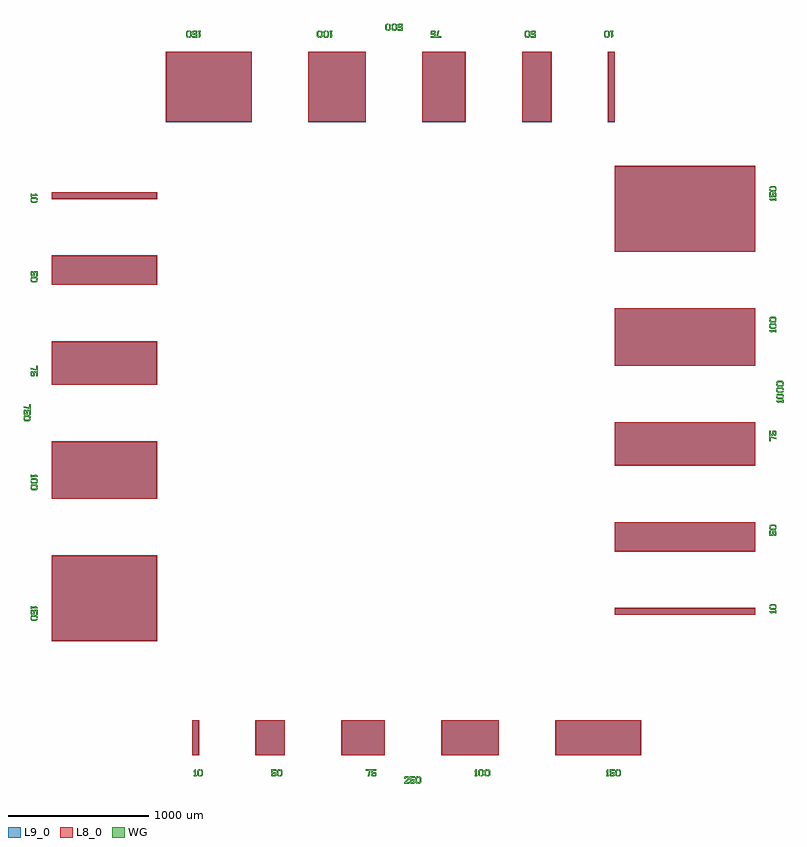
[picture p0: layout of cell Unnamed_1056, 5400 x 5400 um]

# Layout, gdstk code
from math import pi, radians
import gdstk
lib = gdstk.Library(unit=1e-6, precision=1e-09)
def R(c, l, rs):  # rectangles x0, y0, x1, y1
    for r in rs: c.add(gdstk.rectangle(r[:2], r[2:], *l))
def P(c, l, *ps):  # polygons
    for p in ps: c.add(gdstk.Polygon(p, *l))
WG = (1, 0)
L8_0 = (8, 0)
L9_0 = (9, 0)

rectangle_s210_1000_l9__ = lib.new_cell('rectangle_S210_1000_L9__2c233f20')
R(rectangle_s210_1000_l9__, L9_0, [(0,0,210,1000)])

text_t50_s50_p0_0_jleft_ = lib.new_cell('text_T50_S50_P0_0_Jleft_L1_0')
P(text_t50_s50_p0_0_jleft_, WG, [(63.5,0),(66,10),(70,10),(75,15),(75,35),(70,40),(72.5,50),(75,50),(85,40),(85,10),(75,0)],
  [(55,0),(45,10),(45,40),(55,50),(66.5,50),(64,40),(60,40),(55,35),(55,15),(60,10),(57.5,0)],
  [(10,0),(5,5),(5,15),(15,15),(15,10),(30,10),(30,20),(10,20),(5,25),(5,50),(40,50),(40,40),(15,40),(15,30),(35,30),(40,25),(40,5),(35,0)])

rectangle_s50_998_l8_0__ = lib.new_cell('rectangle_S50_998_L8_0__a3cc393b')
R(rectangle_s50_998_l8_0__, L8_0, [(0,0,50,998)])

unnamed_1047 = lib.new_cell('Unnamed_1047')
unnamed_1047.add(gdstk.Reference(rectangle_s210_1000_l9__, (498,0)))
unnamed_1047.add(gdstk.Reference(text_t50_s50_p0_0_jleft_, (605,-150)))
unnamed_1047.add(gdstk.Reference(rectangle_s50_998_l8_0__, (500,0)))
unnamed_1047.add(gdstk.Reference(rectangle_s50_998_l8_0__, (552,0)))
unnamed_1047.add(gdstk.Reference(rectangle_s50_998_l8_0__, (604,0)))
unnamed_1047.add(gdstk.Reference(rectangle_s50_998_l8_0__, (656,0)))

rectangle_s610_1000_l9__ = lib.new_cell('rectangle_S610_1000_L9__b08154cd')
R(rectangle_s610_1000_l9__, L9_0, [(0,0,610,1000)])

text_t150_s50_p0_0_jleft = lib.new_cell('text_T150_S50_P0_0_Jleft_L1_0')
P(text_t150_s50_p0_0_jleft, WG, [(88.5,0),(91,10),(95,10),(100,15),(100,35),(95,40),(97.5,50),(100,50),(110,40),(110,10),(100,0)],
  [(80,0),(70,10),(70,40),(80,50),(91.5,50),(89,40),(85,40),(80,35),(80,15),(85,10),(82.5,0)],
  [(35,0),(30,5),(30,15),(40,15),(40,10),(55,10),(55,20),(35,20),(30,25),(30,50),(65,50),(65,40),(40,40),(40,30),(60,30),(65,25),(65,5),(60,0)],
  [(5,0),(5,10),(10,10),(10,30),(5,30),(5,40),(15,50),(20,50),(20,10),(25,10),(25,0)])

rectangle_s150_998_l8_0_ = lib.new_cell('rectangle_S150_998_L8_0_cd40ac17')
R(rectangle_s150_998_l8_0_, L8_0, [(0,0,150,998)])

unnamed_1050 = lib.new_cell('Unnamed_1050')
unnamed_1050.add(gdstk.Reference(rectangle_s610_1000_l9__, (498,0)))
unnamed_1050.add(gdstk.Reference(text_t150_s50_p0_0_jleft, (855,-150)))
unnamed_1050.add(gdstk.Reference(rectangle_s150_998_l8_0_, (500,0)))
unnamed_1050.add(gdstk.Reference(rectangle_s150_998_l8_0_, (652,0)))
unnamed_1050.add(gdstk.Reference(rectangle_s150_998_l8_0_, (804,0)))
unnamed_1050.add(gdstk.Reference(rectangle_s150_998_l8_0_, (956,0)))

text_t1000_s50_p0_0_jlef = lib.new_cell('text_T1000_S50_P0_0_Jleft_L1_0')
P(text_t1000_s50_p0_0_jlef, WG, [(48.5,0),(51,10),(55,10),(60,15),(60,35),(55,40),(57.5,50),(60,50),(70,40),(70,10),(60,0)],
  [(93.5,0),(96,10),(100,10),(105,15),(105,35),(100,40),(102.5,50),(105,50),(115,40),(115,10),(105,0)],
  [(138.5,0),(141,10),(145,10),(150,15),(150,35),(145,40),(147.5,50),(150,50),(160,40),(160,10),(150,0)],
  [(40,0),(30,10),(30,40),(40,50),(51.5,50),(49,40),(45,40),(40,35),(40,15),(45,10),(42.5,0)],
  [(85,0),(75,10),(75,40),(85,50),(96.5,50),(94,40),(90,40),(85,35),(85,15),(90,10),(87.5,0)],
  [(130,0),(120,10),(120,40),(130,50),(141.5,50),(139,40),(135,40),(130,35),(130,15),(135,10),(132.5,0)],
  [(5,0),(5,10),(10,10),(10,30),(5,30),(5,40),(15,50),(20,50),(20,10),(25,10),(25,0)])

rectangle_s50_1000_l9_0_ = lib.new_cell('rectangle_S50_1000_L9_0_49e40894')
R(rectangle_s50_1000_l9_0_, L9_0, [(0,0,50,1000)])

text_t10_s50_p0_0_jleft_ = lib.new_cell('text_T10_S50_P0_0_Jleft_L1_0')
P(text_t10_s50_p0_0_jleft_, WG, [(48.5,0),(51,10),(55,10),(60,15),(60,35),(55,40),(57.5,50),(60,50),(70,40),(70,10),(60,0)],
  [(40,0),(30,10),(30,40),(40,50),(51.5,50),(49,40),(45,40),(40,35),(40,15),(45,10),(42.5,0)],
  [(5,0),(5,10),(10,10),(10,30),(5,30),(5,40),(15,50),(20,50),(20,10),(25,10),(25,0)])

rectangle_s10_998_l8_0__ = lib.new_cell('rectangle_S10_998_L8_0__618c10ad')
R(rectangle_s10_998_l8_0__, L8_0, [(0,0,10,998)])

unnamed_1046 = lib.new_cell('Unnamed_1046')
unnamed_1046.add(gdstk.Reference(rectangle_s50_1000_l9_0_, (498,0)))
unnamed_1046.add(gdstk.Reference(text_t10_s50_p0_0_jleft_, (505,-150)))
unnamed_1046.add(gdstk.Reference(rectangle_s10_998_l8_0__, (500,0)))
unnamed_1046.add(gdstk.Reference(rectangle_s10_998_l8_0__, (512,0)))
unnamed_1046.add(gdstk.Reference(rectangle_s10_998_l8_0__, (524,0)))
unnamed_1046.add(gdstk.Reference(rectangle_s10_998_l8_0__, (536,0)))

rectangle_s410_1000_l9__ = lib.new_cell('rectangle_S410_1000_L9__d644e350')
R(rectangle_s410_1000_l9__, L9_0, [(0,0,410,1000)])

text_t100_s50_p0_0_jleft = lib.new_cell('text_T100_S50_P0_0_Jleft_L1_0')
P(text_t100_s50_p0_0_jleft, WG, [(48.5,0),(51,10),(55,10),(60,15),(60,35),(55,40),(57.5,50),(60,50),(70,40),(70,10),(60,0)],
  [(93.5,0),(96,10),(100,10),(105,15),(105,35),(100,40),(102.5,50),(105,50),(115,40),(115,10),(105,0)],
  [(40,0),(30,10),(30,40),(40,50),(51.5,50),(49,40),(45,40),(40,35),(40,15),(45,10),(42.5,0)],
  [(85,0),(75,10),(75,40),(85,50),(96.5,50),(94,40),(90,40),(85,35),(85,15),(90,10),(87.5,0)],
  [(5,0),(5,10),(10,10),(10,30),(5,30),(5,40),(15,50),(20,50),(20,10),(25,10),(25,0)])

rectangle_s100_998_l8_0_ = lib.new_cell('rectangle_S100_998_L8_0_c306aa22')
R(rectangle_s100_998_l8_0_, L8_0, [(0,0,100,998)])

unnamed_1049 = lib.new_cell('Unnamed_1049')
unnamed_1049.add(gdstk.Reference(rectangle_s410_1000_l9__, (498,0)))
unnamed_1049.add(gdstk.Reference(text_t100_s50_p0_0_jleft, (730,-150)))
unnamed_1049.add(gdstk.Reference(rectangle_s100_998_l8_0_, (500,0)))
unnamed_1049.add(gdstk.Reference(rectangle_s100_998_l8_0_, (602,0)))
unnamed_1049.add(gdstk.Reference(rectangle_s100_998_l8_0_, (704,0)))
unnamed_1049.add(gdstk.Reference(rectangle_s100_998_l8_0_, (806,0)))

rectangle_s310_1000_l9__ = lib.new_cell('rectangle_S310_1000_L9__5df5b7dc')
R(rectangle_s310_1000_l9__, L9_0, [(0,0,310,1000)])

text_t75_s50_p0_0_jleft_ = lib.new_cell('text_T75_S50_P0_0_Jleft_L1_0')
P(text_t75_s50_p0_0_jleft_, WG, [(50,0),(45,5),(45,15),(55,15),(55,10),(70,10),(70,20),(50,20),(45,25),(45,50),(80,50),(80,40),(55,40),(55,30),(75,30),(80,25),(80,5),(75,0)],
  [(20,0),(28,40),(5,40),(5,50),(40,50),(30,0)])

rectangle_s75_998_l8_0__ = lib.new_cell('rectangle_S75_998_L8_0__cc8ebacf')
R(rectangle_s75_998_l8_0__, L8_0, [(0,0,75,998)])

unnamed_1048 = lib.new_cell('Unnamed_1048')
unnamed_1048.add(gdstk.Reference(rectangle_s310_1000_l9__, (498,0)))
unnamed_1048.add(gdstk.Reference(text_t75_s50_p0_0_jleft_, (667.5,-150)))
unnamed_1048.add(gdstk.Reference(rectangle_s75_998_l8_0__, (500,0)))
unnamed_1048.add(gdstk.Reference(rectangle_s75_998_l8_0__, (577,0)))
unnamed_1048.add(gdstk.Reference(rectangle_s75_998_l8_0__, (654,0)))
unnamed_1048.add(gdstk.Reference(rectangle_s75_998_l8_0__, (731,0)))

unnamed_1054 = lib.new_cell('Unnamed_1054')
unnamed_1054.add(gdstk.Reference(unnamed_1047, (950,0)))
unnamed_1054.add(gdstk.Reference(unnamed_1050, (3080,0)))
unnamed_1054.add(gdstk.Reference(text_t1000_s50_p0_0_jlef, (2500,-200)))
unnamed_1054.add(gdstk.Reference(unnamed_1046, (500,0)))
unnamed_1054.add(gdstk.Reference(unnamed_1049, (2270,0)))
unnamed_1054.add(gdstk.Reference(unnamed_1048, (1560,0)))

unnamed_1055 = lib.new_cell('Unnamed_1055')

rectangle_s310_750_l9_0_ = lib.new_cell('rectangle_S310_750_L9_0_978c337f')
R(rectangle_s310_750_l9_0_, L9_0, [(0,0,310,750)])

rectangle_s75_748_l8_0__ = lib.new_cell('rectangle_S75_748_L8_0__21cc7b18')
R(rectangle_s75_748_l8_0__, L8_0, [(0,0,75,748)])

unnamed_1043 = lib.new_cell('Unnamed_1043')
unnamed_1043.add(gdstk.Reference(rectangle_s310_750_l9_0_, (498,0)))
unnamed_1043.add(gdstk.Reference(text_t75_s50_p0_0_jleft_, (667.5,-150)))
unnamed_1043.add(gdstk.Reference(rectangle_s75_748_l8_0__, (500,0)))
unnamed_1043.add(gdstk.Reference(rectangle_s75_748_l8_0__, (577,0)))
unnamed_1043.add(gdstk.Reference(rectangle_s75_748_l8_0__, (654,0)))
unnamed_1043.add(gdstk.Reference(rectangle_s75_748_l8_0__, (731,0)))

rectangle_s610_750_l9_0_ = lib.new_cell('rectangle_S610_750_L9_0_205fdfa9')
R(rectangle_s610_750_l9_0_, L9_0, [(0,0,610,750)])

rectangle_s150_748_l8_0_ = lib.new_cell('rectangle_S150_748_L8_0_392cc59f')
R(rectangle_s150_748_l8_0_, L8_0, [(0,0,150,748)])

unnamed_1045 = lib.new_cell('Unnamed_1045')
unnamed_1045.add(gdstk.Reference(rectangle_s610_750_l9_0_, (498,0)))
unnamed_1045.add(gdstk.Reference(text_t150_s50_p0_0_jleft, (855,-150)))
unnamed_1045.add(gdstk.Reference(rectangle_s150_748_l8_0_, (500,0)))
unnamed_1045.add(gdstk.Reference(rectangle_s150_748_l8_0_, (652,0)))
unnamed_1045.add(gdstk.Reference(rectangle_s150_748_l8_0_, (804,0)))
unnamed_1045.add(gdstk.Reference(rectangle_s150_748_l8_0_, (956,0)))

text_t750_s50_p0_0_jleft = lib.new_cell('text_T750_S50_P0_0_Jleft_L1_0')
P(text_t750_s50_p0_0_jleft, WG, [(95,0),(85,10),(85,40),(95,50),(106.5,50),(104,40),(100,40),(95,35),(95,15),(100,10),(97.5,0)],
  [(50,0),(45,5),(45,15),(55,15),(55,10),(70,10),(70,20),(50,20),(45,25),(45,50),(80,50),(80,40),(55,40),(55,30),(75,30),(80,25),(80,5),(75,0)],
  [(103.5,0),(106,10),(110,10),(115,15),(115,35),(110,40),(112.5,50),(115,50),(125,40),(125,10),(115,0)],
  [(20,0),(28,40),(5,40),(5,50),(40,50),(30,0)])

rectangle_s210_750_l9_0_ = lib.new_cell('rectangle_S210_750_L9_0_80ab2e64')
R(rectangle_s210_750_l9_0_, L9_0, [(0,0,210,750)])

rectangle_s50_748_l8_0__ = lib.new_cell('rectangle_S50_748_L8_0__e69bb82a')
R(rectangle_s50_748_l8_0__, L8_0, [(0,0,50,748)])

unnamed_1042 = lib.new_cell('Unnamed_1042')
unnamed_1042.add(gdstk.Reference(rectangle_s210_750_l9_0_, (498,0)))
unnamed_1042.add(gdstk.Reference(text_t50_s50_p0_0_jleft_, (605,-150)))
unnamed_1042.add(gdstk.Reference(rectangle_s50_748_l8_0__, (500,0)))
unnamed_1042.add(gdstk.Reference(rectangle_s50_748_l8_0__, (552,0)))
unnamed_1042.add(gdstk.Reference(rectangle_s50_748_l8_0__, (604,0)))
unnamed_1042.add(gdstk.Reference(rectangle_s50_748_l8_0__, (656,0)))

rectangle_s410_750_l9_0_ = lib.new_cell('rectangle_S410_750_L9_0_fa67063c')
R(rectangle_s410_750_l9_0_, L9_0, [(0,0,410,750)])

rectangle_s100_748_l8_0_ = lib.new_cell('rectangle_S100_748_L8_0_e52924da')
R(rectangle_s100_748_l8_0_, L8_0, [(0,0,100,748)])

unnamed_1044 = lib.new_cell('Unnamed_1044')
unnamed_1044.add(gdstk.Reference(rectangle_s410_750_l9_0_, (498,0)))
unnamed_1044.add(gdstk.Reference(text_t100_s50_p0_0_jleft, (730,-150)))
unnamed_1044.add(gdstk.Reference(rectangle_s100_748_l8_0_, (500,0)))
unnamed_1044.add(gdstk.Reference(rectangle_s100_748_l8_0_, (602,0)))
unnamed_1044.add(gdstk.Reference(rectangle_s100_748_l8_0_, (704,0)))
unnamed_1044.add(gdstk.Reference(rectangle_s100_748_l8_0_, (806,0)))

rectangle_s50_750_l9_0__ = lib.new_cell('rectangle_S50_750_L9_0__6a6b90ef')
R(rectangle_s50_750_l9_0__, L9_0, [(0,0,50,750)])

rectangle_s10_748_l8_0__ = lib.new_cell('rectangle_S10_748_L8_0__afdd4900')
R(rectangle_s10_748_l8_0__, L8_0, [(0,0,10,748)])

unnamed_1041 = lib.new_cell('Unnamed_1041')
unnamed_1041.add(gdstk.Reference(rectangle_s50_750_l9_0__, (498,0)))
unnamed_1041.add(gdstk.Reference(text_t10_s50_p0_0_jleft_, (505,-150)))
unnamed_1041.add(gdstk.Reference(rectangle_s10_748_l8_0__, (500,0)))
unnamed_1041.add(gdstk.Reference(rectangle_s10_748_l8_0__, (512,0)))
unnamed_1041.add(gdstk.Reference(rectangle_s10_748_l8_0__, (524,0)))
unnamed_1041.add(gdstk.Reference(rectangle_s10_748_l8_0__, (536,0)))

unnamed_1053 = lib.new_cell('Unnamed_1053')
unnamed_1053.add(gdstk.Reference(unnamed_1043, (1560,0)))
unnamed_1053.add(gdstk.Reference(unnamed_1045, (3080,0)))
unnamed_1053.add(gdstk.Reference(text_t750_s50_p0_0_jleft, (2500,-200)))
unnamed_1053.add(gdstk.Reference(unnamed_1042, (950,0)))
unnamed_1053.add(gdstk.Reference(unnamed_1044, (2270,0)))
unnamed_1053.add(gdstk.Reference(unnamed_1041, (500,0)))

rectangle_s610_500_l9_0_ = lib.new_cell('rectangle_S610_500_L9_0_2924ae20')
R(rectangle_s610_500_l9_0_, L9_0, [(0,0,610,500)])

rectangle_s150_498_l8_0_ = lib.new_cell('rectangle_S150_498_L8_0_3344f8a4')
R(rectangle_s150_498_l8_0_, L8_0, [(0,0,150,498)])

unnamed_1040 = lib.new_cell('Unnamed_1040')
unnamed_1040.add(gdstk.Reference(rectangle_s610_500_l9_0_, (498,0)))
unnamed_1040.add(gdstk.Reference(text_t150_s50_p0_0_jleft, (855,-150)))
unnamed_1040.add(gdstk.Reference(rectangle_s150_498_l8_0_, (500,0)))
unnamed_1040.add(gdstk.Reference(rectangle_s150_498_l8_0_, (652,0)))
unnamed_1040.add(gdstk.Reference(rectangle_s150_498_l8_0_, (804,0)))
unnamed_1040.add(gdstk.Reference(rectangle_s150_498_l8_0_, (956,0)))

text_t500_s50_p0_0_jleft = lib.new_cell('text_T500_S50_P0_0_Jleft_L1_0')
P(text_t500_s50_p0_0_jleft, WG, [(63.5,0),(66,10),(70,10),(75,15),(75,35),(70,40),(72.5,50),(75,50),(85,40),(85,10),(75,0)],
  [(108.5,0),(111,10),(115,10),(120,15),(120,35),(115,40),(117.5,50),(120,50),(130,40),(130,10),(120,0)],
  [(55,0),(45,10),(45,40),(55,50),(66.5,50),(64,40),(60,40),(55,35),(55,15),(60,10),(57.5,0)],
  [(100,0),(90,10),(90,40),(100,50),(111.5,50),(109,40),(105,40),(100,35),(100,15),(105,10),(102.5,0)],
  [(10,0),(5,5),(5,15),(15,15),(15,10),(30,10),(30,20),(10,20),(5,25),(5,50),(40,50),(40,40),(15,40),(15,30),(35,30),(40,25),(40,5),(35,0)])

rectangle_s410_500_l9_0_ = lib.new_cell('rectangle_S410_500_L9_0_356fd5f5')
R(rectangle_s410_500_l9_0_, L9_0, [(0,0,410,500)])

rectangle_s100_498_l8_0_ = lib.new_cell('rectangle_S100_498_L8_0_8e44272a')
R(rectangle_s100_498_l8_0_, L8_0, [(0,0,100,498)])

unnamed_1039 = lib.new_cell('Unnamed_1039')
unnamed_1039.add(gdstk.Reference(rectangle_s410_500_l9_0_, (498,0)))
unnamed_1039.add(gdstk.Reference(text_t100_s50_p0_0_jleft, (730,-150)))
unnamed_1039.add(gdstk.Reference(rectangle_s100_498_l8_0_, (500,0)))
unnamed_1039.add(gdstk.Reference(rectangle_s100_498_l8_0_, (602,0)))
unnamed_1039.add(gdstk.Reference(rectangle_s100_498_l8_0_, (704,0)))
unnamed_1039.add(gdstk.Reference(rectangle_s100_498_l8_0_, (806,0)))

rectangle_s310_500_l9_0_ = lib.new_cell('rectangle_S310_500_L9_0_4237744a')
R(rectangle_s310_500_l9_0_, L9_0, [(0,0,310,500)])

rectangle_s75_498_l8_0__ = lib.new_cell('rectangle_S75_498_L8_0__5f6cecd9')
R(rectangle_s75_498_l8_0__, L8_0, [(0,0,75,498)])

unnamed_1038 = lib.new_cell('Unnamed_1038')
unnamed_1038.add(gdstk.Reference(rectangle_s310_500_l9_0_, (498,0)))
unnamed_1038.add(gdstk.Reference(text_t75_s50_p0_0_jleft_, (667.5,-150)))
unnamed_1038.add(gdstk.Reference(rectangle_s75_498_l8_0__, (500,0)))
unnamed_1038.add(gdstk.Reference(rectangle_s75_498_l8_0__, (577,0)))
unnamed_1038.add(gdstk.Reference(rectangle_s75_498_l8_0__, (654,0)))
unnamed_1038.add(gdstk.Reference(rectangle_s75_498_l8_0__, (731,0)))

rectangle_s210_500_l9_0_ = lib.new_cell('rectangle_S210_500_L9_0_9d52daf4')
R(rectangle_s210_500_l9_0_, L9_0, [(0,0,210,500)])

rectangle_s50_498_l8_0__ = lib.new_cell('rectangle_S50_498_L8_0__cadecadc')
R(rectangle_s50_498_l8_0__, L8_0, [(0,0,50,498)])

unnamed_1037 = lib.new_cell('Unnamed_1037')
unnamed_1037.add(gdstk.Reference(rectangle_s210_500_l9_0_, (498,0)))
unnamed_1037.add(gdstk.Reference(text_t50_s50_p0_0_jleft_, (605,-150)))
unnamed_1037.add(gdstk.Reference(rectangle_s50_498_l8_0__, (500,0)))
unnamed_1037.add(gdstk.Reference(rectangle_s50_498_l8_0__, (552,0)))
unnamed_1037.add(gdstk.Reference(rectangle_s50_498_l8_0__, (604,0)))
unnamed_1037.add(gdstk.Reference(rectangle_s50_498_l8_0__, (656,0)))

rectangle_s50_500_l9_0__ = lib.new_cell('rectangle_S50_500_L9_0__e85c1ad9')
R(rectangle_s50_500_l9_0__, L9_0, [(0,0,50,500)])

rectangle_s10_498_l8_0__ = lib.new_cell('rectangle_S10_498_L8_0__ad3ec932')
R(rectangle_s10_498_l8_0__, L8_0, [(0,0,10,498)])

unnamed_1036 = lib.new_cell('Unnamed_1036')
unnamed_1036.add(gdstk.Reference(rectangle_s50_500_l9_0__, (498,0)))
unnamed_1036.add(gdstk.Reference(text_t10_s50_p0_0_jleft_, (505,-150)))
unnamed_1036.add(gdstk.Reference(rectangle_s10_498_l8_0__, (500,0)))
unnamed_1036.add(gdstk.Reference(rectangle_s10_498_l8_0__, (512,0)))
unnamed_1036.add(gdstk.Reference(rectangle_s10_498_l8_0__, (524,0)))
unnamed_1036.add(gdstk.Reference(rectangle_s10_498_l8_0__, (536,0)))

unnamed_1052 = lib.new_cell('Unnamed_1052')
unnamed_1052.add(gdstk.Reference(unnamed_1040, (3080,0)))
unnamed_1052.add(gdstk.Reference(text_t500_s50_p0_0_jleft, (2500,-200)))
unnamed_1052.add(gdstk.Reference(unnamed_1039, (2270,0)))
unnamed_1052.add(gdstk.Reference(unnamed_1038, (1560,0)))
unnamed_1052.add(gdstk.Reference(unnamed_1037, (950,0)))
unnamed_1052.add(gdstk.Reference(unnamed_1036, (500,0)))

rectangle_s610_250_l9_0_ = lib.new_cell('rectangle_S610_250_L9_0_b3f54b2f')
R(rectangle_s610_250_l9_0_, L9_0, [(0,0,610,250)])

rectangle_s150_248_l8_0_ = lib.new_cell('rectangle_S150_248_L8_0_45914063')
R(rectangle_s150_248_l8_0_, L8_0, [(0,0,150,248)])

unnamed_1035 = lib.new_cell('Unnamed_1035')
unnamed_1035.add(gdstk.Reference(rectangle_s610_250_l9_0_, (498,0)))
unnamed_1035.add(gdstk.Reference(text_t150_s50_p0_0_jleft, (855,-150)))
unnamed_1035.add(gdstk.Reference(rectangle_s150_248_l8_0_, (500,0)))
unnamed_1035.add(gdstk.Reference(rectangle_s150_248_l8_0_, (652,0)))
unnamed_1035.add(gdstk.Reference(rectangle_s150_248_l8_0_, (804,0)))
unnamed_1035.add(gdstk.Reference(rectangle_s150_248_l8_0_, (956,0)))

rectangle_s50_250_l9_0__ = lib.new_cell('rectangle_S50_250_L9_0__7cc5cbb5')
R(rectangle_s50_250_l9_0__, L9_0, [(0,0,50,250)])

rectangle_s10_248_l8_0__ = lib.new_cell('rectangle_S10_248_L8_0__7390707e')
R(rectangle_s10_248_l8_0__, L8_0, [(0,0,10,248)])

unnamed_1031 = lib.new_cell('Unnamed_1031')
unnamed_1031.add(gdstk.Reference(rectangle_s50_250_l9_0__, (498,0)))
unnamed_1031.add(gdstk.Reference(text_t10_s50_p0_0_jleft_, (505,-150)))
unnamed_1031.add(gdstk.Reference(rectangle_s10_248_l8_0__, (500,0)))
unnamed_1031.add(gdstk.Reference(rectangle_s10_248_l8_0__, (512,0)))
unnamed_1031.add(gdstk.Reference(rectangle_s10_248_l8_0__, (524,0)))
unnamed_1031.add(gdstk.Reference(rectangle_s10_248_l8_0__, (536,0)))

rectangle_s410_250_l9_0_ = lib.new_cell('rectangle_S410_250_L9_0_d3666667')
R(rectangle_s410_250_l9_0_, L9_0, [(0,0,410,250)])

rectangle_s100_248_l8_0_ = lib.new_cell('rectangle_S100_248_L8_0_ec6efe2a')
R(rectangle_s100_248_l8_0_, L8_0, [(0,0,100,248)])

unnamed_1034 = lib.new_cell('Unnamed_1034')
unnamed_1034.add(gdstk.Reference(rectangle_s410_250_l9_0_, (498,0)))
unnamed_1034.add(gdstk.Reference(text_t100_s50_p0_0_jleft, (730,-150)))
unnamed_1034.add(gdstk.Reference(rectangle_s100_248_l8_0_, (500,0)))
unnamed_1034.add(gdstk.Reference(rectangle_s100_248_l8_0_, (602,0)))
unnamed_1034.add(gdstk.Reference(rectangle_s100_248_l8_0_, (704,0)))
unnamed_1034.add(gdstk.Reference(rectangle_s100_248_l8_0_, (806,0)))

rectangle_s210_250_l9_0_ = lib.new_cell('rectangle_S210_250_L9_0_89861d4c')
R(rectangle_s210_250_l9_0_, L9_0, [(0,0,210,250)])

rectangle_s50_248_l8_0__ = lib.new_cell('rectangle_S50_248_L8_0__6a217ae2')
R(rectangle_s50_248_l8_0__, L8_0, [(0,0,50,248)])

unnamed_1032 = lib.new_cell('Unnamed_1032')
unnamed_1032.add(gdstk.Reference(rectangle_s210_250_l9_0_, (498,0)))
unnamed_1032.add(gdstk.Reference(text_t50_s50_p0_0_jleft_, (605,-150)))
unnamed_1032.add(gdstk.Reference(rectangle_s50_248_l8_0__, (500,0)))
unnamed_1032.add(gdstk.Reference(rectangle_s50_248_l8_0__, (552,0)))
unnamed_1032.add(gdstk.Reference(rectangle_s50_248_l8_0__, (604,0)))
unnamed_1032.add(gdstk.Reference(rectangle_s50_248_l8_0__, (656,0)))

text_t250_s50_p0_0_jleft = lib.new_cell('text_T250_S50_P0_0_Jleft_L1_0')
P(text_t250_s50_p0_0_jleft, WG, [(95,0),(85,10),(85,40),(95,50),(106.5,50),(104,40),(100,40),(95,35),(95,15),(100,10),(97.5,0)],
  [(50,0),(45,5),(45,15),(55,15),(55,10),(70,10),(70,20),(50,20),(45,25),(45,50),(80,50),(80,40),(55,40),(55,30),(75,30),(80,25),(80,5),(75,0)],
  [(103.5,0),(106,10),(110,10),(115,15),(115,35),(110,40),(112.5,50),(115,50),(125,40),(125,10),(115,0)],
  [(5,0),(5,10),(30,35),(30,40),(15,40),(15,35),(5,35),(5,45),(10,50),(35,50),(40,45),(40,30),(20,10),(40,10),(40,0)])

rectangle_s310_250_l9_0_ = lib.new_cell('rectangle_S310_250_L9_0_fe7d9e96')
R(rectangle_s310_250_l9_0_, L9_0, [(0,0,310,250)])

rectangle_s75_248_l8_0__ = lib.new_cell('rectangle_S75_248_L8_0__2b17ab04')
R(rectangle_s75_248_l8_0__, L8_0, [(0,0,75,248)])

unnamed_1033 = lib.new_cell('Unnamed_1033')
unnamed_1033.add(gdstk.Reference(rectangle_s310_250_l9_0_, (498,0)))
unnamed_1033.add(gdstk.Reference(text_t75_s50_p0_0_jleft_, (667.5,-150)))
unnamed_1033.add(gdstk.Reference(rectangle_s75_248_l8_0__, (500,0)))
unnamed_1033.add(gdstk.Reference(rectangle_s75_248_l8_0__, (577,0)))
unnamed_1033.add(gdstk.Reference(rectangle_s75_248_l8_0__, (654,0)))
unnamed_1033.add(gdstk.Reference(rectangle_s75_248_l8_0__, (731,0)))

unnamed_1051 = lib.new_cell('Unnamed_1051')
unnamed_1051.add(gdstk.Reference(unnamed_1035, (3080,0)))
unnamed_1051.add(gdstk.Reference(unnamed_1031, (500,0)))
unnamed_1051.add(gdstk.Reference(unnamed_1034, (2270,0)))
unnamed_1051.add(gdstk.Reference(unnamed_1032, (950,0)))
unnamed_1051.add(gdstk.Reference(text_t250_s50_p0_0_jleft, (2500,-200)))
unnamed_1051.add(gdstk.Reference(unnamed_1033, (1560,0)))

unnamed_1056 = lib.new_cell('Unnamed_1056')
unnamed_1056.add(gdstk.Reference(unnamed_1054, (5000,0), rotation=pi/2))
unnamed_1056.add(gdstk.Reference(unnamed_1055, (5000,0), rotation=pi/2))
unnamed_1056.add(gdstk.Reference(unnamed_1053, (0,5000), rotation=3*pi/2))
unnamed_1056.add(gdstk.Reference(unnamed_1052, (5000,5000), rotation=pi))
unnamed_1056.add(gdstk.Reference(unnamed_1051, (0,0)))

lib.write_gds('Unnamed_1056.gds')
